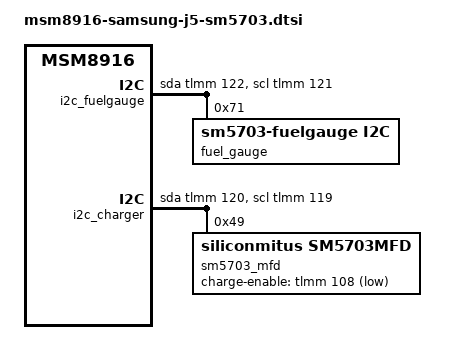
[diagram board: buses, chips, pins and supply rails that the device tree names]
// SPDX-License-Identifier: GPL-2.0-only
/*
 * SM5703 DTS fragment for Samsung Galaxy J5 2015 / MSM8916.
 *
 * This fragment is intended to be folded into:
 *   arch/arm64/boot/dts/qcom/msm8916-samsung-j5.dts
 *
 * GPIO numbers are based on the tested board wiring:
 * - fuel-gauge bitbanged I2C: SCL/SDA GPIOs 121/122
 * - charger bitbanged I2C:    SCL/SDA GPIOs 119/120
 * - optional nCHG GPIO:        TLMM GPIO 108, active low
 *
 * Always verify against the vendor DT for your exact J5 variant.
 */

/ {
	i2c_fuelgauge: i2c-fuelgauge {
		compatible = "i2c-gpio";
		sda-gpios = <&tlmm 122 GPIO_ACTIVE_HIGH>;
		scl-gpios = <&tlmm 121 GPIO_ACTIVE_HIGH>;
		i2c-gpio,delay-us = <5>;
		#address-cells = <1>;
		#size-cells = <0>;

		fuel_gauge: fuel-gauge@71 {
			compatible = "sm5703-fuelgauge,i2c";
			reg = <0x71>;
		};
	};

	i2c_charger: i2c-charger {
		compatible = "i2c-gpio";
		sda-gpios = <&tlmm 120 GPIO_ACTIVE_HIGH>;
		scl-gpios = <&tlmm 119 GPIO_ACTIVE_HIGH>;
		i2c-gpio,delay-us = <5>;
		#address-cells = <1>;
		#size-cells = <0>;

		sm5703_mfd: sm5703-mfd@49 {
			compatible = "siliconmitus,sm5703mfd";
			reg = <0x49>;
			/* Optional. The tested driver also works via SM5703_CNTL alone. */
			charge-enable-gpios = <&tlmm 108 GPIO_ACTIVE_LOW>;

			charger {
				compatible = "siliconmitus,sm5703-charger";
			};
		};
	};
};
